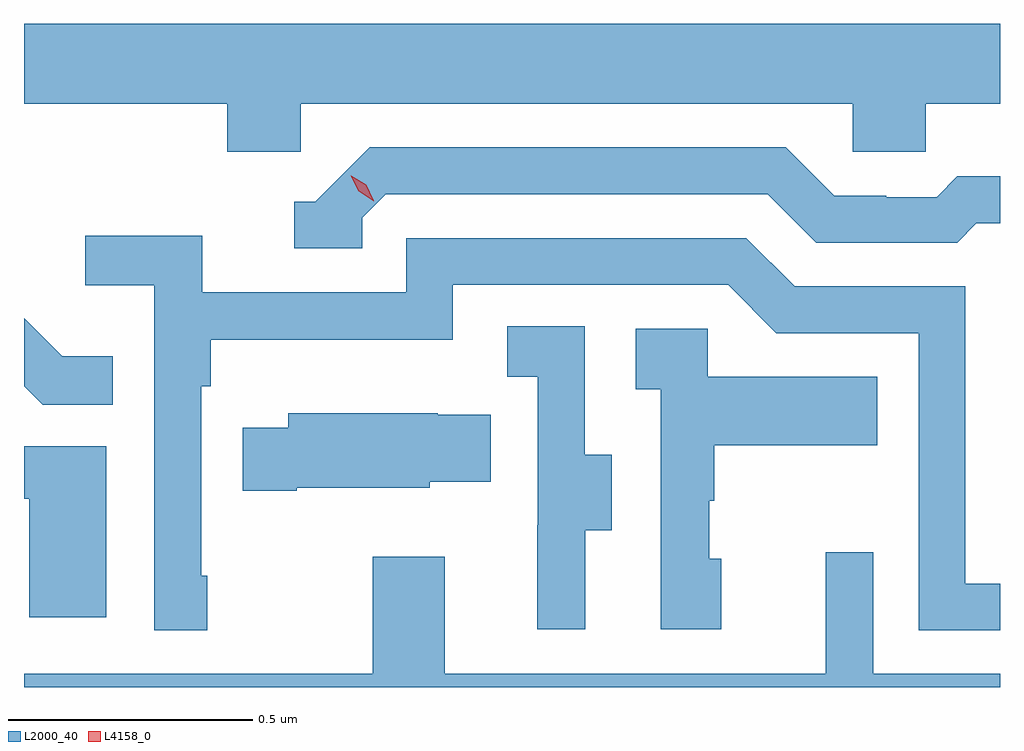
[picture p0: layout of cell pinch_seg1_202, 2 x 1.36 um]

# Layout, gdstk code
import gdstk
lib = gdstk.Library(unit=1e-6, precision=1e-09)
def P(c, l, *ps):  # polygons
    for p in ps: c.add(gdstk.Polygon(p, *l))
L2000_40 = (2000, 40)
L4158_0 = (4158, 0)

pinch_seg1_202 = lib.new_cell('pinch_seg1_202')
P(pinch_seg1_202, L2000_40, [(973.536,581.036),(974.667,581.036),(974.667,580.938),(974.817,580.938),(974.817,581.036),(974.969,581.036),(974.969,581.2),(972.969,581.2),(972.969,581.036),(973.385,581.036),(973.385,580.938),(973.536,580.938)],
  [(973.662,580.803),(973.71,580.851),(974.493,580.851),(974.592,580.752),(974.881,580.752),(974.92,580.791),(974.969,580.791),(974.969,580.888),(974.881,580.888),(974.839,580.845),(974.736,580.845),(974.736,580.848),(974.629,580.848),(974.53,580.947),(973.677,580.947),(973.566,580.836),(973.523,580.836),(973.523,580.74),(973.662,580.74)],
  [(973.345,580.069),(973.332,580.069),(973.332,580.457),(973.352,580.457),(973.352,580.553),(973.848,580.553),(973.848,580.665),(974.412,580.665),(974.511,580.566),(974.802,580.566),(974.802,579.957),(974.969,579.957),(974.969,580.053),(974.898,580.053),(974.898,580.662),(974.548,580.662),(974.449,580.761),(973.752,580.761),(973.752,580.65),(973.334,580.65),(973.334,580.766),(973.095,580.766),(973.095,580.664),(973.236,580.664),(973.236,579.957),(973.345,579.957)],
  [(973.151,580.519),(973.047,580.519),(972.969,580.597),(972.969,580.458),(973.007,580.42),(973.151,580.42)],
  [(974.119,580.162),(974.173,580.162),(974.173,580.317),(974.118,580.317),(974.118,580.58),(973.959,580.58),(973.959,580.477),(974.022,580.477),(974.022,580.173),(974.021,580.173),(974.021,579.96),(974.119,579.96)],
  [(974.398,580.104),(974.373,580.104),(974.373,580.223),(974.383,580.223),(974.383,580.337),(974.717,580.337),(974.717,580.477),(974.37,580.477),(974.37,580.575),(974.223,580.575),(974.223,580.451),(974.274,580.451),(974.274,579.96),(974.398,579.96)],
  [(973.528,580.25),(973.8,580.25),(973.8,580.262),(973.925,580.262),(973.925,580.399),(973.817,580.399),(973.817,580.402),(973.511,580.402),(973.511,580.372),(973.417,580.372),(973.417,580.243),(973.528,580.243)],
  [(973.138,580.335),(972.969,580.335),(972.969,580.227),(972.98,580.227),(972.98,579.984),(973.138,579.984)],
  [(974.969,579.868),(974.709,579.868),(974.709,580.117),(974.612,580.117),(974.612,579.868),(973.831,579.868),(973.831,580.108),(973.684,580.108),(973.684,579.868),(972.969,579.868),(972.969,579.841),(974.969,579.841)])
P(pinch_seg1_202, L4158_0, [(973.686,580.837),(973.655,580.857),(973.639,580.889),(973.639,580.889),(973.64,580.889),(973.67,580.87),(973.686,580.838),(973.686,580.837)])

lib.write_gds('pinch_seg1_202.gds')
